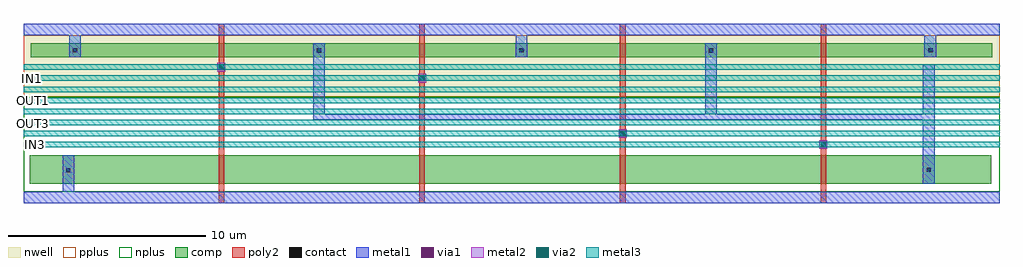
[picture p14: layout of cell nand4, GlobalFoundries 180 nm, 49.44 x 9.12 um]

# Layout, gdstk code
import gdstk
lib = gdstk.Library(unit=1e-6, precision=5e-09)
def R(c, l, rs):  # rectangles x0, y0, x1, y1
    for r in rs: c.add(gdstk.rectangle(r[:2], r[2:], *l))
def A(c, l, x, y, w, h, nx, ny, dx, dy):  # array of equal rectangles
    R(c, l, [(x+i*dx, y+j*dy, x+i*dx+w, y+j*dy+h) for i in range(nx) for j in range(ny)])
nwell = (21, 0)
comp = (22, 0)
poly2 = (30, 0)
pplus = (31, 0)
nplus = (32, 0)
contact = (33, 0)
metal1 = (34, 0)
via1 = (35, 0)
metal2 = (36, 0)
via2 = (38, 0)
metal3 = (42, 0)

nand4 = lib.new_cell('nand4')
R(nand4, nwell, [(-25.06,-1,24.38,2.105)])
R(nand4, comp, [(-24.74,-5.415,23.96,-3.975), (-24.69,0.98,24.01,1.7)])
A(nand4, poly2, -15.175, -6.415, 0.28, 9.115, 4, 1, 10.165, 0)
R(nand4, pplus, [(-25.06,-1,24.38,2.105)])
R(nand4, nplus, [(-25.06,-5.815,24.38,-1)])
R(nand4, contact, [(-22.9,-4.845,-22.68,-4.625), (20.685,-4.82,20.905,-4.6), (15.35,-3.54,15.57,-3.32), (5.18,-2.98,5.4,-2.76), (-4.98,-0.18,-4.76,0.04), (-15.145,0.38,-14.925,0.6), (-10.205,1.225,-9.985,1.445), (9.66,1.225,9.88,1.445), (-22.565,1.235,-22.345,1.455), (0.065,1.235,0.285,1.455), (20.77,1.235,20.99,1.455)])
R(nand4, metal1, [(-25.06,-6.415,24.38,-5.815), (-23.07,-6.41,-22.48,-3.975), (20.48,-5.415,21.11,0.63), (15.255,-3.65,15.66,-3.21), (5.085,-3.09,5.49,-2.65), (-10.375,-2.17,-9.81,1.7), (-10.375,-2.17,21.11,-1.9), (9.465,-2.17,10.045,1.7), (-5.075,-0.29,-4.67,0.15), (-15.24,0.27,-14.835,0.71), (-22.755,0.98,-22.165,2.7), (-0.125,0.98,0.465,2.7), (20.58,0.98,21.17,2.7), (-25.06,2.1,24.38,2.7)])
R(nand4, via1, [(15.33,-3.56,15.59,-3.3), (5.16,-3,5.42,-2.74), (-5,-0.2,-4.74,0.06), (-15.165,0.36,-14.905,0.62)])
R(nand4, metal2, [(15.255,-3.65,15.66,-3.21), (5.085,-3.09,5.49,-2.65), (-5.075,-0.29,-4.67,0.15), (-15.24,0.27,-14.835,0.71)])
R(nand4, via2, [(15.33,-3.56,15.59,-3.3), (5.16,-3,5.42,-2.74), (-5,-0.2,-4.74,0.06), (-15.165,0.36,-14.905,0.62)])
A(nand4, metal3, -25.06, -3.57, 49.44, 0.28, 1, 6, 0, 0.56)
R(nand4, metal3, [(-25.06,-0.205,24.38,0.075), (-25.06,0.35,24.38,0.63)])
nand4.add(gdstk.Label('OUT3', (-24.575,-2.35), layer=42, texttype=10))
nand4.add(gdstk.Label('OUT2', (-24.53,-1.77), layer=42, texttype=10))
nand4.add(gdstk.Label('OUT1', (-24.555,-1.21), layer=42, texttype=10))
nand4.add(gdstk.Label('OUT0', (-24.575,-0.62), layer=42, texttype=10))
nand4.add(gdstk.Label('IN3', (-24.435,-3.45), layer=42, texttype=10))
nand4.add(gdstk.Label('IN2', (-24.48,-2.88), layer=42, texttype=10))
nand4.add(gdstk.Label('IN1', (-24.615,-0.07), layer=42, texttype=10))
nand4.add(gdstk.Label('IN0', (-24.645,0.49), layer=42, texttype=10))

lib.write_gds('nand4.gds')
